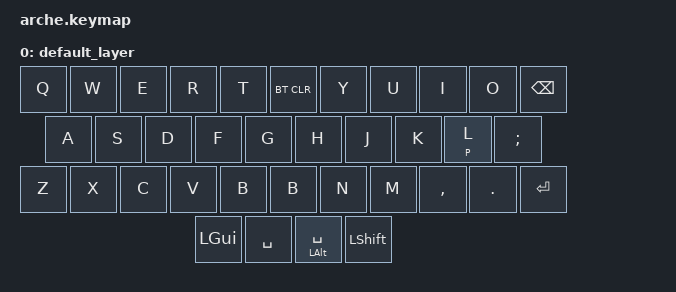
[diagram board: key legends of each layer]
/*
 * Copyright (c) 2020 The ZMK Contributors
 *
 * SPDX-License-Identifier: MIT
 */

#include <dt-bindings/zmk/ext_power.h>
#include <behaviors.dtsi>
#include <dt-bindings/zmk/keys.h>
#include <dt-bindings/zmk/bt.h>


&mt {
    tapping-term-ms = <250>;
    flavor = "tap-preferred";
 };

/ {
    keymap {
        compatible = "zmk,keymap";

        default_layer {
// --------------------------------------------------------------------------------------------------------------------------------------------------------------------
//   |    Q    |    W    |    E    |    R    |    T    |   Y   |                                  |    Y    |    U    |    I    |    O    |   P  |
//   |    A    |    S    |    D    |    F    |    G    |                                          |    H    |    J    |    K    |    L    |   ;  |
//   |    Z    |    X    |    C    |    V    |    B    |                                |  B      |    N    |    M    |     ,   |    .    |  ?   |  
//                                         |   GUI     | SPACE |                        |  SPACE  |   GUI   |  
            bindings = <
    &kp Q       &kp W     &kp E     &kp R    &kp T     &bt BT_CLR                           &kp Y    &kp U  &kp I  &kp O         &kp BSPC   
    &kp A      &kp S      &kp D      &kp F       &kp G                                        &kp H       &kp J     &kp K     &mt P L          &kp SEMI 
    &kp Z      &kp X      &kp C      &kp V       &kp B                                        &kp B       &kp N     &kp M     &kp COMMA   &kp DOT    &kp ENTER
                                     &kp LGUI    &kp SPACE                                    &mt LALT SPACE   &kp LSHIFT
            >;

            
        };

        
    };
};
